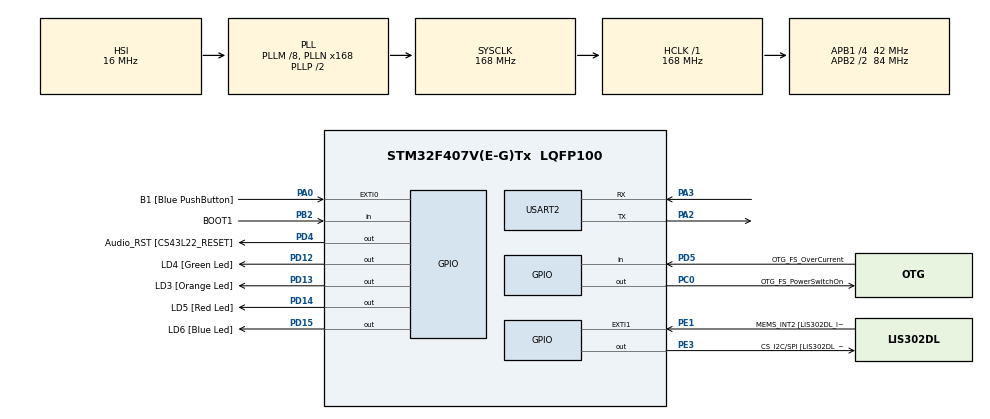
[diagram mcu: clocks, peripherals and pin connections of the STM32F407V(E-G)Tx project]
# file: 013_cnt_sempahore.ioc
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Mcu.Family=STM32F4
Mcu.Name=STM32F407V(E-G)Tx
Mcu.Package=LQFP100
NVIC.EXTI0_IRQn=true\:0\:0\:false\:false\:true\:true\:true\:true
NVIC.PriorityGroup=NVIC_PRIORITYGROUP_4
NVIC.TIM6_DAC_IRQn=true\:0\:0\:false\:false\:true\:false\:true\:true
NVIC.TimeBase=TIM6_DAC_IRQn
NVIC.TimeBaseIP=TIM6
NVIC.USART2_IRQn=true\:0\:0\:false\:false\:true\:true\:true\:true
PA0-WKUP.GPIO_Label=B1 [Blue PushButton]
PA0-WKUP.Signal=GPXTI0
PA10.GPIO_Label=OTG_FS_ID
PA10.GPIO_Mode=GPIO_MODE_AF_PP
PA10.GPIO_PuPd=GPIO_NOPULL
PA10.GPIO_Speed=GPIO_SPEED_FREQ_LOW
PA10.Signal=USB_OTG_FS_ID
PA11.GPIO_Label=OTG_FS_DM
PA11.GPIO_Mode=GPIO_MODE_AF_PP
PA11.GPIO_PuPd=GPIO_NOPULL
PA11.GPIO_Speed=GPIO_SPEED_FREQ_LOW
PA11.Signal=USB_OTG_FS_DM
PA12.GPIO_Label=OTG_FS_DP
PA12.GPIO_Mode=GPIO_MODE_AF_PP
PA12.GPIO_PuPd=GPIO_NOPULL
PA12.GPIO_Speed=GPIO_SPEED_FREQ_LOW
PA12.Signal=USB_OTG_FS_DP
PA13.GPIO_Label=SWDIO
PA13.Signal=SYS_JTMS-SWDIO
PA14.GPIO_Label=SWCLK
PA14.Signal=SYS_JTCK-SWCLK
PA2.Mode=Asynchronous
PA2.Signal=USART2_TX
PA3.Mode=Asynchronous
PA3.Signal=USART2_RX
PA4.GPIO_Label=I2S3_WS [CS43L22_LRCK]
PA4.GPIO_Mode=GPIO_MODE_AF_PP
PA4.GPIO_PuPd=GPIO_NOPULL
PA4.GPIO_Speed=GPIO_SPEED_FREQ_LOW
PA4.Signal=I2S3_WS
PA5.GPIO_Label=SPI1_SCK [LIS302DL_SCL/SPC]
PA5.GPIO_Mode=GPIO_MODE_AF_PP
PA5.GPIO_PuPd=GPIO_NOPULL
PA5.GPIO_Speed=GPIO_SPEED_FREQ_LOW
PA5.Signal=SPI1_SCK
PA6.GPIO_Label=SPI1_MISO [LIS302DL_SDO]
PA6.GPIO_Mode=GPIO_MODE_AF_PP
PA6.GPIO_PuPd=GPIO_NOPULL
PA6.GPIO_Speed=GPIO_SPEED_FREQ_LOW
PA6.Signal=SPI1_MISO
PA7.GPIO_Label=SPI1_MOSI [LIS302DL_SDA/SDI/SDO]
PA7.GPIO_Mode=GPIO_MODE_AF_PP
PA7.GPIO_PuPd=GPIO_NOPULL
PA7.GPIO_Speed=GPIO_SPEED_FREQ_LOW
PA7.Signal=SPI1_MOSI
PA9.GPIO_Label=VBUS_FS
PA9.GPIO_Mode=GPIO_MODE_INPUT
PA9.GPIO_PuPd=GPIO_NOPULL
PA9.Signal=USB_OTG_FS_VBUS
PB10.GPIO_Label=CLK_IN [MP45DT02_CLK]
PB10.GPIO_Mode=GPIO_MODE_AF_PP
PB10.GPIO_PuPd=GPIO_NOPULL
PB10.GPIO_Speed=GPIO_SPEED_FREQ_LOW
PB10.Signal=I2S2_CK
PB2.GPIO_Label=BOOT1
PB2.GPIO_Mode=GPIO_MODE_INPUT
PB2.GPIO_PuPd=GPIO_NOPULL
PB2.Signal=GPIO_Input
PB3.GPIO_Label=SWO
PB3.Signal=SYS_JTDO-SWO
PB6.GPIO_Label=Audio_SCL [CS43L22_SCL]
PB6.GPIO_Mode=GPIO_MODE_AF_OD
PB6.GPIO_PuPd=GPIO_NOPULL
PB6.GPIO_Speed=GPIO_SPEED_FREQ_LOW
PB6.Signal=I2C1_SCL
PB9.GPIO_Label=Audio_SDA [CS43L22_SDA]
PB9.GPIO_Mode=GPIO_MODE_AF_OD
PB9.GPIO_PuPd=GPIO_NOPULL
PB9.GPIO_Speed=GPIO_SPEED_FREQ_LOW
PB9.Signal=I2C1_SDA
PC0.GPIO_Label=OTG_FS_PowerSwitchOn
PC0.GPIO_PuPd=GPIO_NOPULL
PC0.GPIO_Speed=GPIO_SPEED_FREQ_LOW
PC0.PinState=GPIO_PIN_SET
PC0.Signal=GPIO_Output
PC10.GPIO_Label=I2S3_SCK [CS43L22_SCLK]
PC10.GPIO_Mode=GPIO_MODE_AF_PP
PC10.GPIO_PuPd=GPIO_NOPULL
PC10.GPIO_Speed=GPIO_SPEED_FREQ_LOW
PC10.Signal=I2S3_CK
PC12.GPIO_Label=I2S3_SD [CS43L22_SDIN]
PC12.GPIO_Mode=GPIO_MODE_AF_PP
PC12.GPIO_PuPd=GPIO_NOPULL
PC12.GPIO_Speed=GPIO_SPEED_FREQ_LOW
PC12.Signal=I2S3_SD
PC14-OSC32_IN.GPIO_Label=PC14-OSC32_IN
PC14-OSC32_IN.Signal=RCC_OSC32_IN
PC15-OSC32_OUT.GPIO_Label=PC15-OSC32_OUT
PC15-OSC32_OUT.Signal=RCC_OSC32_OUT
PC3.GPIO_Label=PDM_OUT [MP45DT02_DOUT]
PC3.GPIO_Mode=GPIO_MODE_AF_PP
PC3.GPIO_PuPd=GPIO_NOPULL
PC3.GPIO_Speed=GPIO_SPEED_FREQ_LOW
PC3.Signal=I2S2_SD
PC7.GPIO_Label=I2S3_MCK [CS43L22_MCLK]
PC7.GPIO_Mode=GPIO_MODE_AF_PP
PC7.GPIO_PuPd=GPIO_NOPULL
PC7.GPIO_Speed=GPIO_SPEED_FREQ_LOW
PC7.Signal=I2S3_MCK
PD12.GPIO_Label=LD4 [Green Led]
PD12.GPIO_PuPd=GPIO_NOPULL
PD12.GPIO_Speed=GPIO_SPEED_FREQ_LOW
PD12.Signal=GPIO_Output
PD13.GPIO_Label=LD3 [Orange Led]
PD13.GPIO_PuPd=GPIO_NOPULL
PD13.GPIO_Speed=GPIO_SPEED_FREQ_LOW
PD13.Signal=GPIO_Output
PD14.GPIO_Label=LD5 [Red Led]
PD14.GPIO_PuPd=GPIO_NOPULL
PD14.GPIO_Speed=GPIO_SPEED_FREQ_LOW
PD14.Signal=GPIO_Output
PD15.GPIO_Label=LD6 [Blue Led]
PD15.GPIO_PuPd=GPIO_NOPULL
PD15.GPIO_Speed=GPIO_SPEED_FREQ_LOW
PD15.Signal=GPIO_Output
PD4.GPIO_Label=Audio_RST [CS43L22_RESET]
PD4.GPIO_PuPd=GPIO_NOPULL
PD4.GPIO_Speed=GPIO_SPEED_FREQ_LOW
PD4.Signal=GPIO_Output
PD5.GPIO_Label=OTG_FS_OverCurrent
PD5.GPIO_Mode=GPIO_MODE_INPUT
PD5.GPIO_PuPd=GPIO_NOPULL
PD5.Signal=GPIO_Input
PE1.GPIO_Label=MEMS_INT2 [LIS302DL_INT2]
PE1.GPIO_ModeDefaultEXTI=GPIO_MODE_EVT_RISING
PE1.GPIO_PuPd=GPIO_NOPULL
PE1.Signal=GPXTI1
PE3.GPIO_Label=CS_I2C/SPI [LIS302DL_CS_I2C/SPI]
PE3.GPIO_PuPd=GPIO_NOPULL
PE3.GPIO_Speed=GPIO_SPEED_FREQ_LOW
PE3.Signal=GPIO_Output
PH0-OSC_IN.GPIO_Label=PH0-OSC_IN
PH0-OSC_IN.Signal=RCC_OSC_IN
PH1-OSC_OUT.GPIO_Label=PH1-OSC_OUT
PH1-OSC_OUT.Signal=RCC_OSC_OUT
ProjectManager.HeapSize=0x200
ProjectManager.StackSize=0x400
ProjectManager.TargetToolchain=STM32CubeIDE
RCC.48MHZClocksFreq_Value=48000000
RCC.AHBFreq_Value=168000000
RCC.APB1CLKDivider=RCC_HCLK_DIV4
RCC.APB1Freq_Value=42000000
RCC.APB1TimFreq_Value=84000000
RCC.APB2CLKDivider=RCC_HCLK_DIV2
RCC.APB2Freq_Value=84000000
RCC.APB2TimFreq_Value=168000000
RCC.CortexFreq_Value=168000000
RCC.HCLKFreq_Value=168000000
RCC.HSE_VALUE=8000000
RCC.HSI_VALUE=16000000
RCC.LSE_VALUE=32768
RCC.PLLM=8
RCC.PLLN=168
RCC.PLLQ=7
RCC.SYSCLKFreq_VALUE=168000000
RCC.SYSCLKSource=RCC_SYSCLKSOURCE_PLLCLK
RCC.VCOOutputFreq_Value=336000000
USART2.VirtualMode=VM_ASYNC
VP_SYS_VS_tim6.Mode=TIM6
board=STM32F407G-DISC1

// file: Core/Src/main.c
/* USER CODE BEGIN Header */
/**
  ******************************************************************************
  * @file           : main.c
  * @brief          : Main program body
  ******************************************************************************
  * @attention
  *
  * Copyright (c) 2025 STMicroelectronics.
  * All rights reserved.
  *
  * This software is licensed under terms that can be found in the LICENSE file
  * in the root directory of this software component.
  * If no LICENSE file comes with this software, it is provided AS-IS.
  *
  ******************************************************************************
  */
/* USER CODE END Header */
#include "main.h"

/* USER CODE BEGIN Includes */
#include <stdio.h>
#include <stdlib.h>
#include <string.h>
#include "ringbuffer.h"

// freertos
#include "FreeRTOS.h"
#include "task.h"
#include "semphr.h"
#include "queue.h"
/* USER CODE END Includes */

/* USER CODE BEGIN PD */
#define DWT_CTRL	(*(volatile uint32_t*)0xE0001000)
/* USER CODE END PD */

UART_HandleTypeDef huart2;

/* USER CODE BEGIN PV */
char usr_msg[250] = {0};

TaskHandle_t xTaskHandle1=NULL;
TaskHandle_t xTaskHandle2=NULL;

/* this is the queue which manager uses to put the work ticket id */
xQueueHandle xWorkQueue;

char readBuf[1];
uint8_t txData;
__IO ITStatus UartReady = SET;
__IO ITStatus UartTxComplete = SET;
RingBuffer txBuf, rxBuf;

/* Declare a variable of type xSemaphoreHandle.  This is used to reference the
semaphore that is used to synchronize a task with an interrupt. */
xSemaphoreHandle xCountingSemaphore;
/* USER CODE END PV */

void SystemClock_Config(void);
static void MX_GPIO_Init(void);
static void MX_USART2_UART_Init(void);
/* USER CODE BEGIN PFP */

static void vHandlerTask( void *pvParameters );
static void vPeriodicTask( void *pvParameters );

int _write(int file, char *ptr, int len)
{
  if (UART_Transmit(&huart2, (uint8_t *)ptr, len))
  {
    // Wait for transmission to complete to ensure log integrity
    while (UartTxComplete == RESET || RingBuffer_GetDataLength(&txBuf) > 0)
    {
      // Allow other interrupts to process
      __NOP();
    }
    return len;
  }
  return 0; // Return 0 on failure
}
/* USER CODE END PFP */

int main(void)
{

  /* MCU Configuration--------------------------------------------------------*/

  /* Reset of all peripherals, Initializes the Flash interface and the Systick. */
  HAL_Init();

  /* Configure the system clock */
  SystemClock_Config();

  /* Initialize all configured peripherals */
  MX_GPIO_Init();
  MX_USART2_UART_Init();
  /* USER CODE BEGIN 2 */
  RingBuffer_Init(&txBuf);
  RingBuffer_Init(&rxBuf);

  DWT_CTRL |= (1 << 0);

  printf("demo of counting semaphore \r\n");

  /* Before a semaphore is used it must be explicitly created.  In this example
	a counting semaphore is created.  The semaphore is created to have a maximum
	count value of 10, and an initial count value of 0. */
  xCountingSemaphore = xSemaphoreCreateCounting( 10, 0 );

  /* Check the semaphore was created successfully. */
  if( xCountingSemaphore != NULL )
  {
	  /* Enable the button interrupt and set its priority. */
//	  prvSetupSoftwareInterrupt();

	  /* Create the 'handler' task.  This is the task that will be synchronized
		with the interrupt.  The handler task is created with a high priority to
		ensure it runs immediately after the interrupt exits.  In this case a
		priority of 3 is chosen. */
	  xTaskCreate( vHandlerTask, "Handler", 500, NULL, 1, NULL );

	  /* Create the task that will periodically generate a software interrupt.
		This is created with a priority below the handler task to ensure it will
		get preempted each time the handler task exist the Blocked state. */
	  xTaskCreate( vPeriodicTask, "Periodic", 500, NULL, 3, NULL );

	  /* Start the scheduler so the created tasks start executing. */
	  vTaskStartScheduler();
  }

  printf("queue/sema create failed\r\n");

  /* USER CODE END 2 */

  /* Infinite loop */
  while (1)
  {

  }
}

void SystemClock_Config(void)
{
  RCC_OscInitTypeDef RCC_OscInitStruct = {0};
  RCC_ClkInitTypeDef RCC_ClkInitStruct = {0};

  /** Configure the main internal regulator output voltage
  */
  __HAL_RCC_PWR_CLK_ENABLE();
  __HAL_PWR_VOLTAGESCALING_CONFIG(PWR_REGULATOR_VOLTAGE_SCALE1);

  /** Initializes the RCC Oscillators according to the specified parameters
  * in the RCC_OscInitTypeDef structure.
  */
  RCC_OscInitStruct.OscillatorType = RCC_OSCILLATORTYPE_HSI;
  RCC_OscInitStruct.HSIState = RCC_HSI_ON;
  RCC_OscInitStruct.HSICalibrationValue = RCC_HSICALIBRATION_DEFAULT;
  RCC_OscInitStruct.PLL.PLLState = RCC_PLL_ON;
  RCC_OscInitStruct.PLL.PLLSource = RCC_PLLSOURCE_HSI;
  RCC_OscInitStruct.PLL.PLLM = 8;
  RCC_OscInitStruct.PLL.PLLN = 168;
  RCC_OscInitStruct.PLL.PLLP = RCC_PLLP_DIV2;
  RCC_OscInitStruct.PLL.PLLQ = 7;
  if (HAL_RCC_OscConfig(&RCC_OscInitStruct) != HAL_OK)
  {
    Error_Handler();
  }

  /** Initializes the CPU, AHB and APB buses clocks
  */
  RCC_ClkInitStruct.ClockType = RCC_CLOCKTYPE_HCLK|RCC_CLOCKTYPE_SYSCLK
                              |RCC_CLOCKTYPE_PCLK1|RCC_CLOCKTYPE_PCLK2;
  RCC_ClkInitStruct.SYSCLKSource = RCC_SYSCLKSOURCE_PLLCLK;
  RCC_ClkInitStruct.AHBCLKDivider = RCC_SYSCLK_DIV1;
  RCC_ClkInitStruct.APB1CLKDivider = RCC_HCLK_DIV4;
  RCC_ClkInitStruct.APB2CLKDivider = RCC_HCLK_DIV2;

  if (HAL_RCC_ClockConfig(&RCC_ClkInitStruct, FLASH_LATENCY_5) != HAL_OK)
  {
    Error_Handler();
  }
}

static void MX_USART2_UART_Init(void)
{

  huart2.Instance = USART2;
  huart2.Init.BaudRate = 115200;
  huart2.Init.WordLength = UART_WORDLENGTH_8B;
  huart2.Init.StopBits = UART_STOPBITS_1;
  huart2.Init.Parity = UART_PARITY_NONE;
  huart2.Init.Mode = UART_MODE_TX_RX;
  huart2.Init.HwFlowCtl = UART_HWCONTROL_NONE;
  huart2.Init.OverSampling = UART_OVERSAMPLING_16;
  if (HAL_UART_Init(&huart2) != HAL_OK)
  {
    Error_Handler();
  }
  /* USER CODE BEGIN USART2_Init 2 */
  /* Enable UART2 interrupt */
  HAL_NVIC_SetPriority(USART2_IRQn, 5, 0);
  HAL_NVIC_EnableIRQ(USART2_IRQn);
  /* USER CODE END USART2_Init 2 */

}

static void MX_GPIO_Init(void)
{
  GPIO_InitTypeDef GPIO_InitStruct = {0};

  /* GPIO Ports Clock Enable */
  __HAL_RCC_GPIOE_CLK_ENABLE();
  __HAL_RCC_GPIOC_CLK_ENABLE();
  __HAL_RCC_GPIOH_CLK_ENABLE();
  __HAL_RCC_GPIOA_CLK_ENABLE();
  __HAL_RCC_GPIOB_CLK_ENABLE();
  __HAL_RCC_GPIOD_CLK_ENABLE();

  /*Configure GPIO pin Output Level */
  HAL_GPIO_WritePin(CS_I2C_SPI_GPIO_Port, CS_I2C_SPI_Pin, GPIO_PIN_RESET);

  /*Configure GPIO pin Output Level */
  HAL_GPIO_WritePin(OTG_FS_PowerSwitchOn_GPIO_Port, OTG_FS_PowerSwitchOn_Pin, GPIO_PIN_SET);

  /*Configure GPIO pin Output Level */
  HAL_GPIO_WritePin(GPIOD, LD4_Pin|LD3_Pin|LD5_Pin|LD6_Pin
                          |Audio_RST_Pin, GPIO_PIN_RESET);

  /*Configure GPIO pin : CS_I2C_SPI_Pin */
  GPIO_InitStruct.Pin = CS_I2C_SPI_Pin;
  GPIO_InitStruct.Mode = GPIO_MODE_OUTPUT_PP;
  GPIO_InitStruct.Pull = GPIO_NOPULL;
  GPIO_InitStruct.Speed = GPIO_SPEED_FREQ_LOW;
  HAL_GPIO_Init(CS_I2C_SPI_GPIO_Port, &GPIO_InitStruct);

  /*Configure GPIO pin : OTG_FS_PowerSwitchOn_Pin */
  GPIO_InitStruct.Pin = OTG_FS_PowerSwitchOn_Pin;
  GPIO_InitStruct.Mode = GPIO_MODE_OUTPUT_PP;
  GPIO_InitStruct.Pull = GPIO_NOPULL;
  GPIO_InitStruct.Speed = GPIO_SPEED_FREQ_LOW;
  HAL_GPIO_Init(OTG_FS_PowerSwitchOn_GPIO_Port, &GPIO_InitStruct);

  /*Configure GPIO pin : PDM_OUT_Pin */
  GPIO_InitStruct.Pin = PDM_OUT_Pin;
  GPIO_InitStruct.Mode = GPIO_MODE_AF_PP;
  GPIO_InitStruct.Pull = GPIO_NOPULL;
  GPIO_InitStruct.Speed = GPIO_SPEED_FREQ_LOW;
  GPIO_InitStruct.Alternate = GPIO_AF5_SPI2;
  HAL_GPIO_Init(PDM_OUT_GPIO_Port, &GPIO_InitStruct);

  /*Configure GPIO pin : B1_Pin */
  GPIO_InitStruct.Pin = B1_Pin;
  GPIO_InitStruct.Mode = GPIO_MODE_IT_RISING;
  GPIO_InitStruct.Pull = GPIO_NOPULL;
  HAL_GPIO_Init(B1_GPIO_Port, &GPIO_InitStruct);

  /*Configure GPIO pin : I2S3_WS_Pin */
  GPIO_InitStruct.Pin = I2S3_WS_Pin;
  GPIO_InitStruct.Mode = GPIO_MODE_AF_PP;
  GPIO_InitStruct.Pull = GPIO_NOPULL;
  GPIO_InitStruct.Speed = GPIO_SPEED_FREQ_LOW;
  GPIO_InitStruct.Alternate = GPIO_AF6_SPI3;
  HAL_GPIO_Init(I2S3_WS_GPIO_Port, &GPIO_InitStruct);

  /*Configure GPIO pins : SPI1_SCK_Pin SPI1_MISO_Pin SPI1_MOSI_Pin */
  GPIO_InitStruct.Pin = SPI1_SCK_Pin|SPI1_MISO_Pin|SPI1_MOSI_Pin;
  GPIO_InitStruct.Mode = GPIO_MODE_AF_PP;
  GPIO_InitStruct.Pull = GPIO_NOPULL;
  GPIO_InitStruct.Speed = GPIO_SPEED_FREQ_LOW;
  GPIO_InitStruct.Alternate = GPIO_AF5_SPI1;
  HAL_GPIO_Init(GPIOA, &GPIO_InitStruct);

  /*Configure GPIO pin : BOOT1_Pin */
  GPIO_InitStruct.Pin = BOOT1_Pin;
  GPIO_InitStruct.Mode = GPIO_MODE_INPUT;
  GPIO_InitStruct.Pull = GPIO_NOPULL;
  HAL_GPIO_Init(BOOT1_GPIO_Port, &GPIO_InitStruct);

  /*Configure GPIO pin : CLK_IN_Pin */
  GPIO_InitStruct.Pin = CLK_IN_Pin;
  GPIO_InitStruct.Mode = GPIO_MODE_AF_PP;
  GPIO_InitStruct.Pull = GPIO_NOPULL;
  GPIO_InitStruct.Speed = GPIO_SPEED_FREQ_LOW;
  GPIO_InitStruct.Alternate = GPIO_AF5_SPI2;
  HAL_GPIO_Init(CLK_IN_GPIO_Port, &GPIO_InitStruct);

  /*Configure GPIO pins : LD4_Pin LD3_Pin LD5_Pin LD6_Pin
                           Audio_RST_Pin */
  GPIO_InitStruct.Pin = LD4_Pin|LD3_Pin|LD5_Pin|LD6_Pin
                          |Audio_RST_Pin;
  GPIO_InitStruct.Mode = GPIO_MODE_OUTPUT_PP;
  GPIO_InitStruct.Pull = GPIO_NOPULL;
  GPIO_InitStruct.Speed = GPIO_SPEED_FREQ_LOW;
  HAL_GPIO_Init(GPIOD, &GPIO_InitStruct);

  /*Configure GPIO pins : I2S3_MCK_Pin I2S3_SCK_Pin I2S3_SD_Pin */
  GPIO_InitStruct.Pin = I2S3_MCK_Pin|I2S3_SCK_Pin|I2S3_SD_Pin;
  GPIO_InitStruct.Mode = GPIO_MODE_AF_PP;
  GPIO_InitStruct.Pull = GPIO_NOPULL;
  GPIO_InitStruct.Speed = GPIO_SPEED_FREQ_LOW;
  GPIO_InitStruct.Alternate = GPIO_AF6_SPI3;
  HAL_GPIO_Init(GPIOC, &GPIO_InitStruct);

  /*Configure GPIO pin : VBUS_FS_Pin */
  GPIO_InitStruct.Pin = VBUS_FS_Pin;
  GPIO_InitStruct.Mode = GPIO_MODE_INPUT;
  GPIO_InitStruct.Pull = GPIO_NOPULL;
  HAL_GPIO_Init(VBUS_FS_GPIO_Port, &GPIO_InitStruct);

  /*Configure GPIO pins : OTG_FS_ID_Pin OTG_FS_DM_Pin OTG_FS_DP_Pin */
  GPIO_InitStruct.Pin = OTG_FS_ID_Pin|OTG_FS_DM_Pin|OTG_FS_DP_Pin;
  GPIO_InitStruct.Mode = GPIO_MODE_AF_PP;
  GPIO_InitStruct.Pull = GPIO_NOPULL;
  GPIO_InitStruct.Speed = GPIO_SPEED_FREQ_LOW;
  GPIO_InitStruct.Alternate = GPIO_AF10_OTG_FS;
  HAL_GPIO_Init(GPIOA, &GPIO_InitStruct);

  /*Configure GPIO pin : OTG_FS_OverCurrent_Pin */
  GPIO_InitStruct.Pin = OTG_FS_OverCurrent_Pin;
  GPIO_InitStruct.Mode = GPIO_MODE_INPUT;
  GPIO_InitStruct.Pull = GPIO_NOPULL;
  HAL_GPIO_Init(OTG_FS_OverCurrent_GPIO_Port, &GPIO_InitStruct);

  /*Configure GPIO pins : Audio_SCL_Pin Audio_SDA_Pin */
  GPIO_InitStruct.Pin = Audio_SCL_Pin|Audio_SDA_Pin;
  GPIO_InitStruct.Mode = GPIO_MODE_AF_OD;
  GPIO_InitStruct.Pull = GPIO_NOPULL;
  GPIO_InitStruct.Speed = GPIO_SPEED_FREQ_LOW;
  GPIO_InitStruct.Alternate = GPIO_AF4_I2C1;
  HAL_GPIO_Init(GPIOB, &GPIO_InitStruct);

  /*Configure GPIO pin : MEMS_INT2_Pin */
  GPIO_InitStruct.Pin = MEMS_INT2_Pin;
  GPIO_InitStruct.Mode = GPIO_MODE_EVT_RISING;
  GPIO_InitStruct.Pull = GPIO_NOPULL;
  HAL_GPIO_Init(MEMS_INT2_GPIO_Port, &GPIO_InitStruct);

  /* EXTI interrupt init*/
  HAL_NVIC_SetPriority(EXTI0_IRQn, 0, 0);
  HAL_NVIC_EnableIRQ(EXTI0_IRQn);

}

/* USER CODE BEGIN 4 */
uint8_t UART_Transmit(UART_HandleTypeDef *huart, uint8_t *pData, uint16_t len)
{
  UartTxComplete = RESET; // Mark transmission as in progress
  if (HAL_UART_Transmit_IT(huart, pData, len) != HAL_OK)
  {
    if (RingBuffer_Write(&txBuf, pData, len) != RING_BUFFER_OK)
      return 0;
  }
  return 1;
}

void HAL_UART_RxCpltCallback(UART_HandleTypeDef *UartHandle)
{
  /* Set transmission flag: transfer complete*/
  UartReady = SET;
}

void HAL_UART_TxCpltCallback(UART_HandleTypeDef *huart)
{
  if (huart == &huart2)
  {
    if (RingBuffer_GetDataLength(&txBuf) > 0)
    {
      RingBuffer_Read(&txBuf, &txData, 1);
      HAL_UART_Transmit_IT(huart, &txData, 1);
    }
    else
    {
      UartTxComplete = SET; // Mark transmission as complete when buffer is empty
    }
  }
}

static void vHandlerTask( void *pvParameters )
{
	/* As per most tasks, this task is implemented within an infinite loop. */
	for( ;; )
	{
		/* Use the semaphore to wait for the event.  The semaphore was created
		before the scheduler was started so before this task ran for the first
		time.  The task blocks indefinitely meaning this function call will only
		return once the semaphore has been successfully obtained - so there is no
		need to check the returned value. */
		xSemaphoreTake( xCountingSemaphore, portMAX_DELAY );

		/* To get here the event must have occurred.  Process the event (in this
		case we just print out a message). */
		printf("Handler task - Processing event.\r\n");
	}
}
/*-----------------------------------------------------------*/

static void vPeriodicTask( void *pvParameters )
{
	/* As per most tasks, this task is implemented within an infinite loop. */
	for( ;; )
	{
		/* This task is just used to 'simulate' an interrupt.  This is done by
		periodically generating a software interrupt. */
		vTaskDelay( pdMS_TO_TICKS(500) );

		/* Generate the interrupt, printing a message both before hand and
		afterwards so the sequence of execution is evident from the output. */
		printf("Periodic task - Pending the interrupt.\r\n" );

		//pend the interrupt
		NVIC_SetPendingIRQ(EXTI15_10_IRQn);

		printf("Periodic task - Resuming.\r\n" );
	}
}

/**
  * @brief  UART error callback
  * @param  huart: UART handle
  * @retval None
  */
void HAL_UART_ErrorCallback(UART_HandleTypeDef *huart)
{
  if (huart->Instance == USART2)
  {
    // Mark transmission as complete on error to prevent deadlock
    UartTxComplete = SET;
  }
}
/* USER CODE END 4 */

void HAL_TIM_PeriodElapsedCallback(TIM_HandleTypeDef *htim)
{
  if (htim->Instance == TIM6)
  {
    HAL_IncTick();
  }
}

void Error_Handler(void)
{
  __disable_irq();
  while (1)
  {
  }
}
